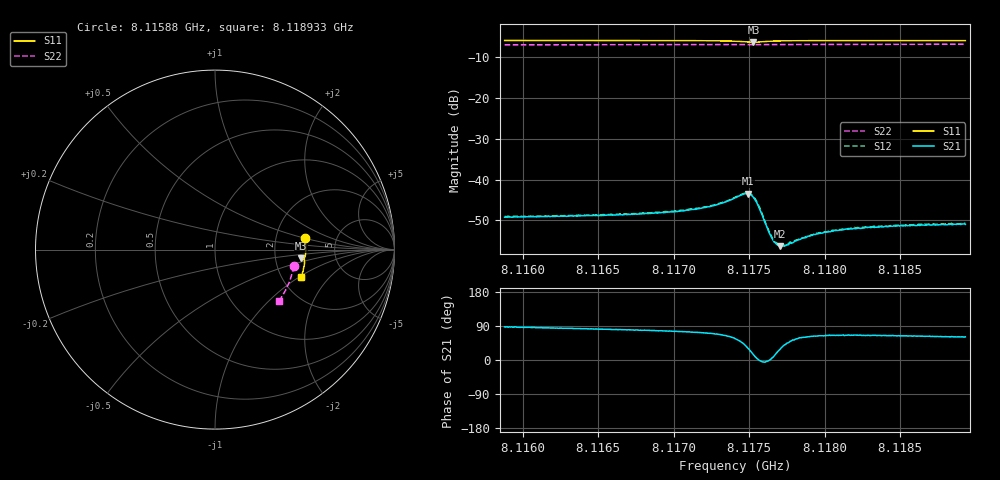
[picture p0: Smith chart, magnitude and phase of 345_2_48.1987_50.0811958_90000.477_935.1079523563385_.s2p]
#  HZ  S  RI  R  50.00
! Rohde & Schwarz Vector Network Analyzer
! Rohde-Schwarz,ZNB20-2Port,1311601062101988,3.16
! Created: UTC 3/20/2024, 11:51:33 AM
! freq[Hz]  re:S11  im:S11  re:S21  im:S21  re:S12  im:S12  re:S22  im:S22
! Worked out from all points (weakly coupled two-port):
!   401 points, 8.11588 GHz to 8.118933 GHz, reference 50 ohm
!   highest |S21| = -43.43 dB at 8.11749 GHz (marker M1); lowest = -56.3 dB at 8.117704 GHz (marker M2)
!   lowest |S11| = -6.3 dB at 8.117529 GHz (marker M3), VSWR 2.86, Z = 140 - j18.1 ohm
!   |S11| at or under -10 dB: nowhere
!   |S22| runs from -7.0 to -6.8 dB; largest |S21 - S12| = 0.00019
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8.1158802e9  0.503 0.067  0.000158 0.00346  0.000222 0.00355  0.4384 -0.093
8.1163915e9  0.5059 0.0287  0.000479 0.00359  0.000522 0.0036  0.4311 -0.1277
8.1169028e9  0.5058 -0.0105  0.00088 0.00384  0.000912 0.00389  0.4209 -0.1617
8.1170555e9  0.5048 -0.0228  0.00106 0.00399  0.00117 0.00404  0.4172 -0.1719
8.117231e9  0.5025 -0.0378  0.00154 0.00438  0.00165 0.00442  0.4129 -0.1834
8.1173607e9  0.4979 -0.0502  0.00251 0.00486  0.00259 0.00492  0.4095 -0.1918
8.1174065e9  0.4943 -0.0546  0.00329 0.00499  0.00337 0.00506  0.4078 -0.1948
8.1174599e9  0.4869 -0.0577  0.00474 0.00456  0.00486 0.00463  0.4062 -0.1981
8.1174905e9  0.4818 -0.0561  0.0057 0.00359  0.00584 0.00365  0.4052 -0.1998
8.1175057e9  0.4799 -0.0538  0.00597 0.00279  0.00609 0.00288  0.4046 -0.2005
8.1175286e9  0.4792 -0.0494  0.00588 0.00149  0.006 0.00154  0.4041 -0.2017
8.1175668e9  0.4841 -0.0442  0.0045 -6.86e-05  0.00468 -6.88e-05  0.4034 -0.2038
8.1176202e9  0.4927 -0.0463  0.00256 -0.000153  0.00262 -0.000198  0.4021 -0.2073
8.1176507e9  0.4955 -0.0495  0.00192 0.000168  0.00196 0.000158  0.4014 -0.2093
8.1176813e9  0.4973 -0.0531  0.00153 0.000511  0.00162 0.00049  0.4005 -0.2114
8.1177041e9  0.4982 -0.0557  0.00135 0.000712  0.00139 0.000731  0.3998 -0.2129
8.1177423e9  0.4988 -0.0598  0.00117 0.00102  0.00118 0.00105  0.3988 -0.2153
8.1179178e9  0.4985 -0.0762  0.000953 0.00184  0.000993 0.00185  0.3932 -0.2264
8.1180399e9  0.4973 -0.0861  0.000985 0.00208  0.000994 0.00216  0.3893 -0.234
8.1181849e9  0.4952 -0.0975  0.00104 0.00226  0.0011 0.00231  0.3843 -0.2429
8.1184292e9  0.4911 -0.1161  0.00116 0.00241  0.00121 0.00243  0.3753 -0.2575
8.1189328e9  0.4808 -0.1523  0.00138 0.00248  0.00141 0.00255  0.3554 -0.2868
